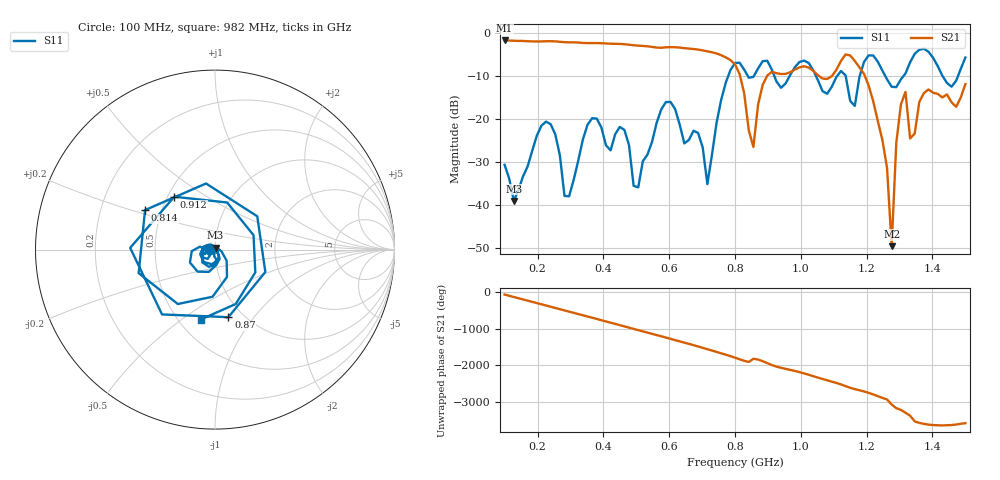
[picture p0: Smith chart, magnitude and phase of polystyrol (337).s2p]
! NanoVNA-App
! Date: 2025-09-25 15:32:31
! Start: 100MHz Stop: 1,5GHz Points: 101
! S-Parameter data: F S11 S21 S12 S22
# Hz S RI R 50
!  Frequency  S11_Real  S11_Imag  S21_Real  S21_Imag  S12_Real  S12_Imag  S22_Real  S22_Imag
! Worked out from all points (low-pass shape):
!   101 points, 100 MHz to 1.5 GHz, reference 50 ohm
!   highest |S21| = -1.80 dB at 100 MHz (marker M1); lowest = -49.6 dB at 1.276 GHz (marker M2)
!   |S21| within 3 dB of the highest: start of sweep to 742.9 MHz
!   lowest |S11| = -39.1 dB at 128 MHz (marker M3), VSWR 1.02, Z = 50.3 + j1.06 ohm
!   |S11| at or under -10 dB: start of sweep to 779.7 MHz; 1.046 GHz to 1.111 GHz (65.54 MHz wide, 6.08 % of centre); 1.256 GHz to 1.313 GHz (56.47 MHz wide, 4.4 % of centre) (the widest 3 of 7)
!   S12 and S22 are empty: the file has one direction only
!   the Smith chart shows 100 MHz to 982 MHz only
!   S11 on the Smith chart (normalised r, x): 100 MHz: 0.94, -0.01; 814 MHz: 0.40, +0.22; 870 MHz: 0.85, -0.75; 912 MHz: 0.54, +0.37; 982 MHz: 0.64, -0.59
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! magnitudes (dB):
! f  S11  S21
! 100 MHz  -30.7  -1.8
! 128 MHz  -39.1  -1.9
! 212 MHz  -21.6  -2.0
! 282 MHz  -37.9  -2.2
! 338 MHz  -24.7  -2.4
! 506 MHz  -35.9  -3.0
! 576 MHz  -17.8  -3.5
! 716 MHz  -35.2  -4.3
! 800 MHz  -7.0  -7.4
! 814 MHz  -7.0  -9.6
! 856 MHz  -10.3  -26.5
! 870 MHz  -8.3  -16.8
! 912 MHz  -8.6  -9.1
! 982 MHz  -8.0  -8.6
! 1.038 GHz  -8.8  -8.9
! 1.192 GHz  -6.8  -9.6
! 1.262 GHz  -10.8  -31.5
! 1.276 GHz  -12.6  -49.6
! 1.29 GHz  -12.6  -25.7
! 1.318 GHz  -9.5  -13.8
! 1.332 GHz  -6.9  -24.6
! 1.5 GHz  -5.8  -11.9
